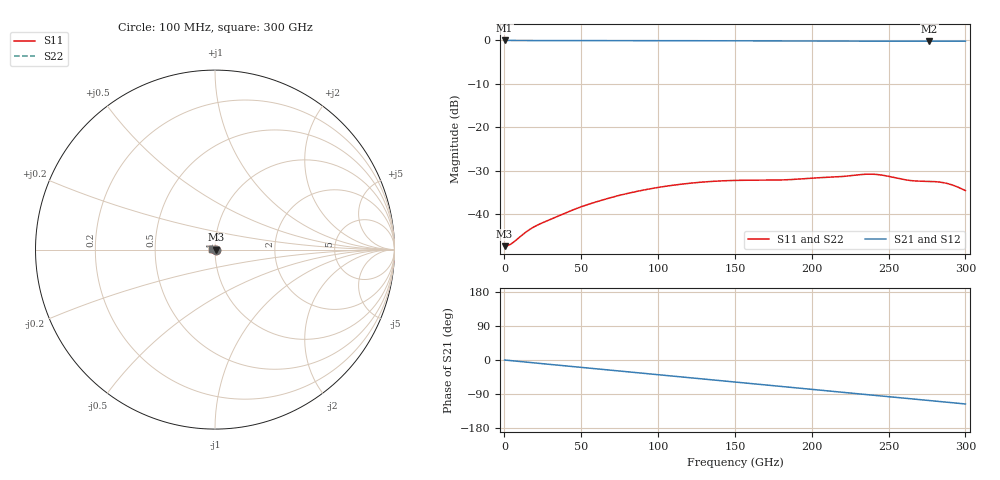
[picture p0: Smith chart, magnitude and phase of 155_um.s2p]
#  Hz  S  RI  R  50
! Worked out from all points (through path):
!   3000 points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, 100 MHz to 300 GHz, reference 50 ohm
!   highest |S21| = -0.04 dB at 100 MHz (marker M1); lowest = -0.2 dB at 276.5 GHz (marker M2)
!   group delay of S21, straight-line fit = 1.07 ps
!   lowest |S11| = -47.4 dB at 100 MHz (marker M3), VSWR 1.01, Z = 50.4 - j7.98e-06 ohm
!   |S11| at or under -10 dB: start of sweep to end of sweep
!   |S22| runs from -47.5 to -30.8 dB; largest |S21 - S12| = 0.00014
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1e8  0.00426 -7.92e-08  0.9959 -0.000706  0.996 -0.000709  0.00419 1.65e-06
2.3e9  0.00434 -1.26e-05  0.9956 -0.0162  0.9957 -0.0163  0.00428 2.46e-05
4.7e9  0.00457 -9.3e-05  0.9949 -0.033  0.9949 -0.0331  0.00455 -3.17e-05
1.31e10  0.00584 -0.00146  0.9896 -0.0902  0.9896 -0.0901  0.0059 -0.00147
1.9e10  0.0063 -0.0032  0.9847 -0.1293  0.9848 -0.1293  0.00628 -0.00326
4.08e10  0.00516 -0.00908  0.9538 -0.2725  0.9539 -0.2724  0.00518 -0.00912
5.01e10  0.00403 -0.0114  0.9346 -0.3318  0.9346 -0.3319  0.004 -0.0114
7.28e10  3.14e-05 -0.016  0.872 -0.4704  0.872 -0.4705  9.71e-06 -0.016
1.001e11  -0.00622 -0.0193  0.7699 -0.622  0.7698 -0.6221  -0.00623 -0.0192
1.247e11  -0.012 -0.0196  0.6552 -0.7405  0.6552 -0.7405  -0.012 -0.0196
1.501e11  -0.0167 -0.0177  0.5175 -0.8409  0.5175 -0.8409  -0.0167 -0.0177
1.748e11  -0.019 -0.0155  0.3684 -0.9131  0.3683 -0.9131  -0.019 -0.0154
2.001e11  -0.0215 -0.0144  0.2074 -0.9582  0.2073 -0.9582  -0.0215 -0.0144
2.168e11  -0.0234 -0.013  0.099 -0.973  0.0991 -0.9731  -0.0234 -0.013
2.364e11  -0.027 -0.00993  -0.0266 -0.9761  -0.0265 -0.976  -0.027 -0.00994
2.43e11  -0.0274 -0.0075  -0.0693 -0.9745  -0.0693 -0.9746  -0.0274 -0.00747
2.501e11  -0.0266 -0.00504  -0.1159 -0.9708  -0.116 -0.9708  -0.0266 -0.00505
2.635e11  -0.0242 -0.00311  -0.2039 -0.9556  -0.2039 -0.9556  -0.0242 -0.00309
2.765e11  -0.0237 -0.00194  -0.285 -0.9329  -0.285 -0.9329  -0.0236 -0.00199
2.828e11  -0.0233 -0.000521  -0.3236 -0.9208  -0.3236 -0.9207  -0.0234 -0.000567
2.878e11  -0.0225 0.000827  -0.3547 -0.91  -0.3547 -0.91  -0.0226 0.000879
3e11  -0.0185 0.0024  -0.4295 -0.8774  -0.4295 -0.8775  -0.0184 0.00232
